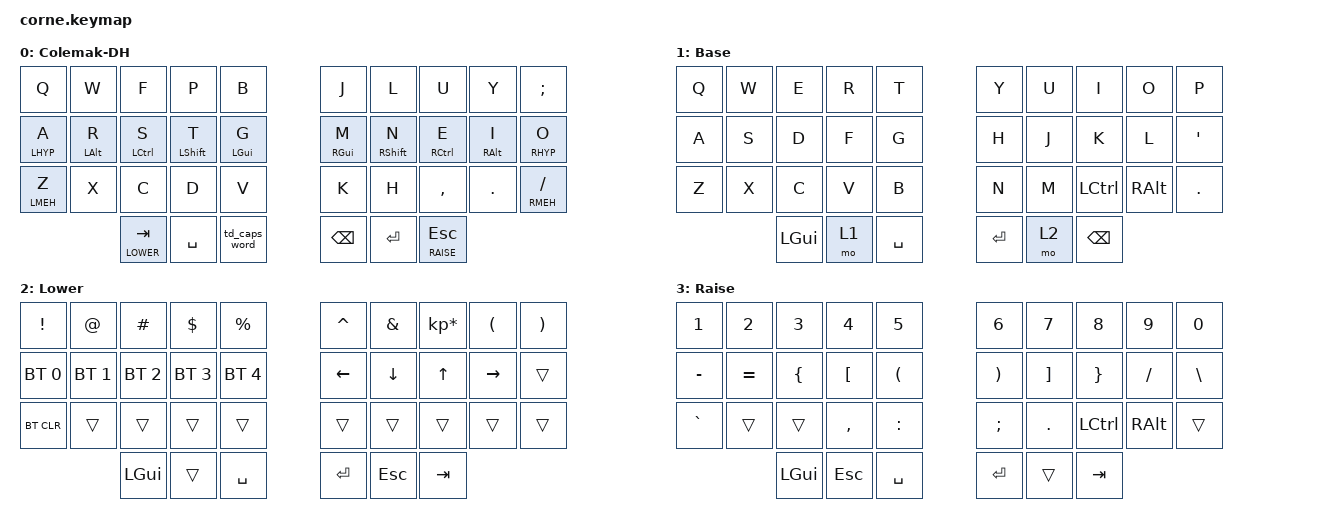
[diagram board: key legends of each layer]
/*
 * Copyright (c) 2020 The ZMK Contributors
 *
 * SPDX-License-Identifier: MIT
 */

#include <behaviors.dtsi>
#include <dt-bindings/zmk/keys.h>
#include <dt-bindings/zmk/bt.h>
// From https://github.com/nicenemo/zmk-config/blob/homerow_modifiers/config/corneish_zen.keymap
#include "custom_modifiers.h"

// #define AS(keycode) &as LS(keycode) keycode

// Define layers
// #define COLEMAK 0
// #define QWERTY 1

#define BASE 0
#define QWERTY 1
#define LOWER 2
#define RAISE 3
#define NAV 4

/ {
    chosen {
      zmk,matrix_transform = &five_column_transform;
    };

    behaviors {
        // as: auto_shift {
        //     compatible = "zmk,behavior-hold-tap";
        //     #binding-cells = <2>;
        //     tapping_term_ms = <200>;
        //     quick_tap_ms = <0>;
        //     flavor = "tap-preferred";
        //     bindings = <&kp>, <&kp>;
        // };

        hm: homerow_mods {
            compatible = "zmk,behavior-hold-tap";
            label = "HOMEROW_MODS";
            #binding-cells = <2>;
            tapping-term-ms = <200>;
            quick-tap-ms = <0>;
            flavor = "tap-preferred";
            bindings = <&kp>, <&kp>;
        };

        td_caps_word: tap_dance_caps_word {
            compatible = "zmk,behavior-tap-dance";
            label = "TAP_DANCE_CAPS_WORD";
            #binding-cells = <0>;
            tapping-term-ms = <200>;
            bindings = <&kp LSHFT>, <&caps_word>;
        };
    };
        keymap {
                compatible = "zmk,keymap";

                colmak_dh {
                display-name = "Colemak-DH";                        
                bindings = <
    &kp Q         &kp W      &kp F       &kp P       &kp B            &kp J      &kp L       &kp U       &kp Y      &kp SEMI
    &hm LHYP A    &hm LALT R &hm LCTRL S &hm LSHFT T &hm LGUI G       &hm RGUI M &hm RSHFT N &hm RCTRL E &hm RALT I &hm RHYP O
    &hm LMEH Z    &kp X      &kp C       &kp D       &kp V            &kp K      &kp H       &kp COMMA   &kp DOT    &hm RMEH SLASH
                          &lt LOWER TAB &kp SPACE &td_caps_word       &kp BSPC   &kp ENTER   &lt RAISE ESC
            >;
        };

                default_layer {
// -----------------------------------------------------------------------------------------
// |  Q  |  W  |  E  |  R  |  T  |     |  Y  |  U   |  I   |  O   | P |
// |  A  |  S  |  D  |  F  |  G  |     |  H  |  J   |  K   |  L   | ' | 
// |  Z  |  X  |  C  |  V  |  B  |     |  N  |  M   | CTRL | META | . |
//             | GUI | LWR | SPC |     | ENT | RSE  | BSPC |
                        display-name = "Base";
                        bindings = <
   &kp Q &kp W &kp E &kp R &kp T     &kp Y   &kp U  &kp I     &kp O     &kp P
   &kp A &kp S &kp D &kp F &kp G     &kp H   &kp J  &kp K     &kp L     &kp SQT
   &kp Z &kp X &kp C &kp V &kp B     &kp N   &kp M  &kp LCTL  &kp RALT  &kp DOT
        &kp LGUI &mo 1 &kp SPACE     &kp RET &mo 2  &kp BSPC
                        >;
                };

                lower_layer {
// -----------------------------------------------------------------------------------------
// | !     |  @  |  #  |  $  |  %  |     |  ^  |  &  |  *  |  (  |  )  |
// | BT1   | BT2 | BT3 | BT4 | BT5 |     | LFT | DWN |  UP | RGT |     |
// | BTCLR |     |     |     |     |     |     |     |     |     |     |
//               | GUI |     | SPC |     | ENT | ESC | TAB |
                        display-name = "Lower";
                        bindings = <
   &kp EXCL     &kp AT       &kp HASH     &kp DLLR     &kp PRCNT        &kp CARET &kp AMPS  &kp KP_MULTIPLY &kp LPAR  &kp RPAR
   &bt BT_SEL 0 &bt BT_SEL 1 &bt BT_SEL 2 &bt BT_SEL 3 &bt BT_SEL 4     &kp LEFT  &kp DOWN  &kp UP          &kp RIGHT &trans 
   &bt BT_CLR   &trans       &trans       &trans       &trans           &trans    &trans    &trans          &trans    &trans 
                             &kp LGUI     &trans       &kp SPACE        &kp RET   &kp ESC   &kp TAB
                        >;
                };

                raise_layer {
// -----------------------------------------------------------------------------------------
// |  1!  |  2@  |  3#  |  4$  |  5%  |     |  6^  |  7&  |  8*  |  9(  |  0)  |
// |  -_  |  =+  |  {   |  [   |  (   |     |  )   |  ]   |  }   |  /?  |  \|  |
// |  `~  |      |      |  ,<  |  :   |     |  ;   |  .>  | CTRL | META |      |
//               | GUI  | ESC  | SPC  |     | ENT  |      | TAB  |
                        display-name = "Raise";
                        bindings = <

   &kp N1    &kp N2    &kp N3    &kp N4    &kp N5        &kp N6    &kp N7    &kp N8    &kp N9   &kp N0
   &kp MINUS &kp EQUAL &kp LBRC  &kp LBKT  &kp LPAR      &kp RPAR  &kp RBKT  &kp RBRC  &kp FSLH &kp BSLH
   &kp GRAVE &trans    &trans    &kp COMMA &kp COLON     &kp SEMI  &kp DOT   &kp LCTRL &kp RALT &trans
                       &kp LGUI  &kp ESC   &kp SPACE     &kp RET   &trans    &kp TAB
                        >;
                };
        };
};
